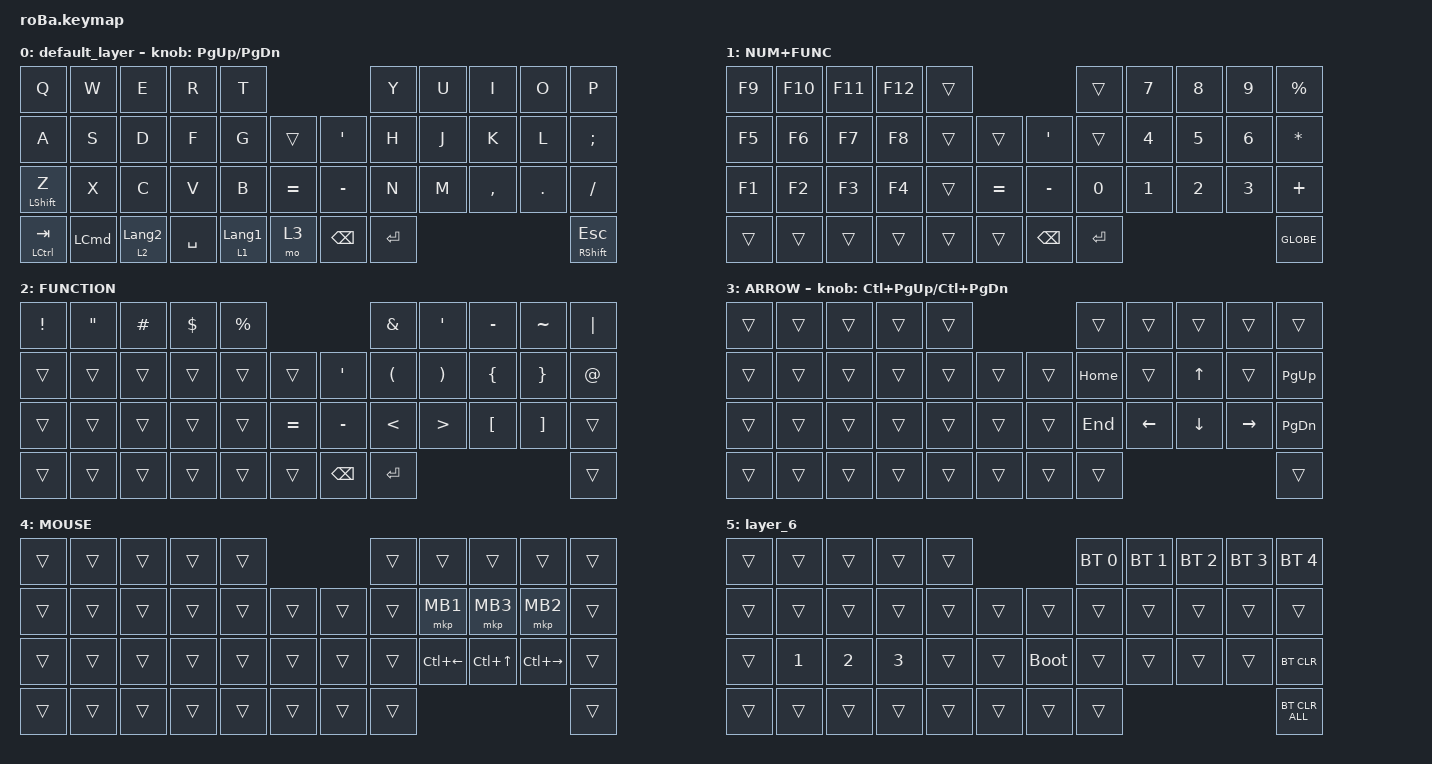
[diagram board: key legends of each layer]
#include <behaviors.dtsi>
#include <dt-bindings/zmk/bt.h>
#include <dt-bindings/zmk/keys.h>
#include <dt-bindings/zmk/pointing.h>

// OS設定を日本語キーボードのまま使用するための変換定義

#define JP_DQUOTE       AT                // "
#define JP_AMPERSAND    CARET             // &
#define JP_QUOTE        AMPERSAND         // '
#define JP_EQUAL        UNDER             // =
#define JP_CARET        EQUAL             // ^
#define JP_YEN          0x89              // ¥
#define JP_PLUS         COLON             // +
#define JP_TILDE        PLUS              // ~
#define JP_PIPE         LS(0x89)          // |
#define JP_AT           LEFT_BRACKET      // @
#define JP_COLON        SINGLE_QUOTE      // :
#define JP_ASTERISK     DOUBLE_QUOTES     // *
#define JP_BACKQUOTE    LEFT_BRACE        // `
#define JP_UNDERSCORE   LS(0x87)          // _
#define JP_LBRACKET     RIGHT_BRACKET     // [
#define JP_RBRACKET     BACKSLASH         // ]
#define JP_LPAREN       ASTERISK          // (
#define JP_RPAREN       LEFT_PARENTHESIS  // )
#define JP_LBRACE       RIGHT_BRACE       // {
#define JP_RBRACE       PIPE              // }
#define JP_KANA         LANGUAGE_1        // かな
#define JP_EISU         LANGUAGE_2        // 英数
#define JP_HANZEN       GRAVE             // 半角/全角

&mt {
    flavor = "balanced";
    quick-tap-ms = <0>;
};

&trackball {
    automouse-layer = <4>;
    scroll-layers = <5>;

    arrows {
        layers = <3>;
        bindings =
            <&kp RIGHT_ARROW>,
            <&kp LEFT_ARROW>,
            <&kp UP_ARROW>,
            <&kp DOWN_ARROW>;

        tick = <10>;
        wait-ms = <5>;
        tap-ms = <5>;
    };
};

/ {
    combos {
        compatible = "zmk,combos";

        tab {
            bindings = <&kp TAB>;
            key-positions = <11 12>;
        };

        shift_tab {
            bindings = <&kp LS(TAB)>;
            key-positions = <12 13>;
        };

        muhennkann {
            bindings = <&to_layer_0 INT_MUHENKAN>;
            key-positions = <11 10>;
        };

        double_quotation {
            bindings = <&kp DOUBLE_QUOTES>;
            key-positions = <20 21>;
        };

        eq {
            bindings = <&kp EQUAL>;
            key-positions = <24 25>;
        };
    };

    macros {
        to_layer_0: to_layer_0 {
            compatible = "zmk,behavior-macro-one-param";
            #binding-cells = <1>;
            bindings = <&to 0 &macro_param_1to1 &kp MACRO_PLACEHOLDER>;
            label = "TO_LAYER_0";
        };
    };

    behaviors {
        lt_to_layer_0: lt_to_layer_0 {
            compatible = "zmk,behavior-hold-tap";
            label = "LAYER_TAP_TO_0";
            bindings = <&mo>, <&to_layer_0>;

            #binding-cells = <2>;
            tapping-term-ms = <200>;
        };

        encoder_msc_down_up: encoder_msc_down_up {
            compatible = "zmk,behavior-sensor-rotate";
            label = "ENCODER_MSC_DOWN_UP";
            #sensor-binding-cells = <0>;
            bindings = <&msc SCRL_DOWN>, <&msc SCRL_UP>;

            tap-ms = <20>;
        };

        encoder_scroll_v: encoder_scroll_v {
            compatible = "zmk,behavior-sensor-rotate";
            label = "ENCODER_SCROLL_V";
            #sensor-binding-cells = <0>;
            bindings = <&msc SCRL_UP>, <&msc SCRL_DOWN>;
            tap-ms = <20>;  /* 任意：回転の取りこぼし/チャタリング対策 */
        };
    };

    keymap {
        compatible = "zmk,keymap";

        default_layer {
            bindings = <
&kp Q                 &kp W             &kp E             &kp R      &kp T                                              &kp Y      &kp U  &kp I      &kp O    &kp P
&kp A                 &kp S             &kp D             &kp F      &kp G             &trans         &kp SINGLE_QUOTE  &kp H      &kp J  &kp K      &kp L    &kp SEMICOLON
&mt LEFT_SHIFT Z      &kp X             &kp C             &kp V      &kp B             &kp EQUAL      &kp MINUS         &kp N      &kp M  &kp COMMA  &kp DOT  &kp SLASH
&mt LEFT_CONTROL TAB  &kp LEFT_COMMAND  &lt 2 LANGUAGE_2  &kp SPACE  &lt 1 LANGUAGE_1  &mo 3          &kp BACKSPACE     &kp ENTER                             &mt RIGHT_SHIFT ESCAPE
            >;

            sensor-bindings = <&inc_dec_kp PG_UP PAGE_DOWN>;
        };

        NUM+FUNC {
            bindings = <
&kp F9  &kp F10  &kp F11  &kp F12  &trans                                   &trans        &kp N7        &kp N8        &kp N9        &kp PERCENT
&kp F5  &kp F6   &kp F7   &kp F8   &trans  &trans         &kp SINGLE_QUOTE  &trans        &kp NUMBER_4  &kp N5        &kp NUMBER_6  &kp ASTERISK
&kp F1  &kp F2   &kp F3   &kp F4   &trans  &kp EQUAL      &kp MINUS         &kp NUMBER_0  &kp NUMBER_1  &kp NUMBER_2  &kp NUMBER_3  &kp PLUS
&trans  &trans   &trans   &trans   &trans  &trans         &kp BACKSPACE     &kp ENTER                                               &kp GLOBE
            >;
        };

        FUNCTION {
            bindings = <
&kp EXCLAMATION  &kp DOUBLE_QUOTES  &kp HASH  &kp DOLLAR  &kp PERCENT                                   &kp AMPERSAND         &kp SQT                &kp MINUS         &kp TILDE          &kp PIPE
&trans           &trans             &trans    &trans      &trans       &trans         &kp SINGLE_QUOTE  &kp LEFT_PARENTHESIS  &kp RIGHT_PARENTHESIS  &kp LEFT_BRACE    &kp RIGHT_BRACE    &kp AT_SIGN
&trans           &trans             &trans    &trans      &trans       &kp EQUAL      &kp MINUS         &kp LESS_THAN         &kp GREATER_THAN       &kp LEFT_BRACKET  &kp RIGHT_BRACKET  &trans
&trans           &trans             &trans    &trans      &trans       &trans         &kp BACKSPACE     &kp ENTER                                                                         &trans
            >;
        };

        ARROW {
            bindings = <
&trans  &trans  &trans  &trans  &trans                      &trans    &trans    &trans        &trans     &trans
&trans  &trans  &trans  &trans  &trans  &trans      &trans  &kp HOME  &trans    &kp UP_ARROW  &trans     &kp PAGE_UP
&trans  &trans  &trans  &trans  &trans  &trans      &trans  &kp END   &kp LEFT  &kp DOWN      &kp RIGHT  &kp PAGE_DOWN
&trans  &trans  &trans  &trans  &trans  &trans      &trans  &trans                                       &trans
            >;

            sensor-bindings = <&inc_dec_kp LC(PAGE_UP) LC(PAGE_DOWN)>;
        };

        MOUSE {
            bindings = <
&trans  &trans  &trans  &trans  &trans                      &trans  &trans        &trans            &trans         &trans
&trans  &trans  &trans  &trans  &trans  &trans      &trans  &trans  &mkp MB1      &mkp MB3          &mkp MB2       &trans
&trans  &trans  &trans  &trans  &trans  &trans      &trans  &trans  &kp LC(LEFT)  &kp LC(UP_ARROW)  &kp LC(RIGHT)  &trans
&trans  &trans  &trans  &trans  &trans  &trans      &trans  &trans                                                 &trans
            >;
        };

        layer_6 {
            bindings = <
&trans  &trans        &trans        &trans        &trans                           &bt BT_SEL 0  &bt BT_SEL 1  &bt BT_SEL 2  &bt BT_SEL 3  &bt BT_SEL 4
&trans  &trans        &trans        &trans        &trans  &trans      &trans       &trans        &trans        &trans        &trans        &trans
&trans  &kp NUMBER_1  &kp NUMBER_2  &kp NUMBER_3  &trans  &trans      &bootloader  &trans        &trans        &trans        &trans        &bt BT_CLR
&trans  &trans        &trans        &trans        &trans  &trans      &trans       &trans                                                  &bt BT_CLR_ALL
            >;
        };
    };
};
